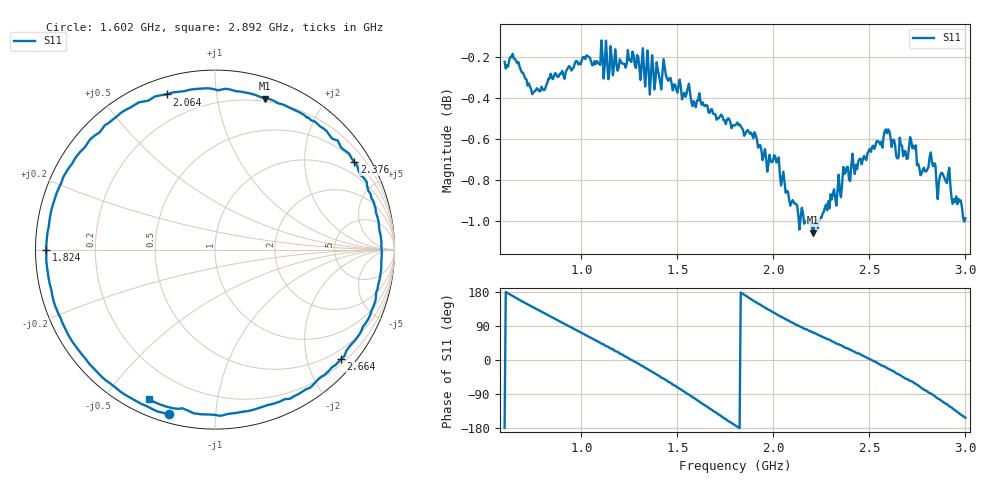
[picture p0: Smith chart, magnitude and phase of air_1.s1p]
! nanovna_capture.py 2026-10-18T19:21:49+0900
! NanoVNA-F_V2 fw 0.6.0 SN 4A3639384505514B
! cal: load open short cal'ed  over 600000000-3000000000 Hz, 201 points
! points 401, avg 4
! free air, >=10 cm, capture 1
# HZ S RI R 50
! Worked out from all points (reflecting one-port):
!   401 points, 600 MHz to 3 GHz, reference 50 ohm
!   lowest |S11| = -1.1 dB at 2.208 GHz (marker M1), VSWR 16.49, Z = 8.77 + j68.4 ohm
!   phase of S11 starts at -179 deg and turns -694 deg over the sweep
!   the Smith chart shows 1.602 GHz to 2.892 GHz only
!   S11 on the Smith chart (normalised r, x): 1.602 GHz: 0.04, -0.76; 1.824 GHz: 0.03, -0.00; 2.064 GHz: 0.08, +0.73; 2.376 GHz: 0.56, +3.40; 2.664 GHz: 0.29, -2.65; 2.892 GHz: 0.06, -0.65
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6e8  -0.9744 -0.0189
7.26e8  -0.7901 0.5501
8.28e8  -0.4562 0.8508
9e8  -0.142 0.9592
9.72e8  0.1825 0.9578
1.038e9  0.4665 0.8587
1.116e9  0.7268 0.6354
1.2e9  0.9323 0.2884
1.26e9  0.9744 0.00397
1.332e9  0.9014 -0.3335
1.434e9  0.6128 -0.7538
1.5e9  0.2913 -0.9125
1.602e9  -0.2558 -0.9186
1.704e9  -0.721 -0.6084
1.8e9  -0.9321 -0.1251
1.824e9  -0.9411 -0.0022
1.95e9  -0.712 0.5902
2.064e9  -0.2695 0.8646
2.1e9  -0.1313 0.8923
2.208e9  0.2778 0.841
2.376e9  0.7765 0.4859
2.4e9  0.8131 0.4121
2.538e9  0.9259 -0.1082
2.664e9  0.7022 -0.61
2.7e9  0.5766 -0.721
2.808e9  0.0671 -0.9164
2.892e9  -0.3702 -0.8343
3e9  -0.7912 -0.4136
